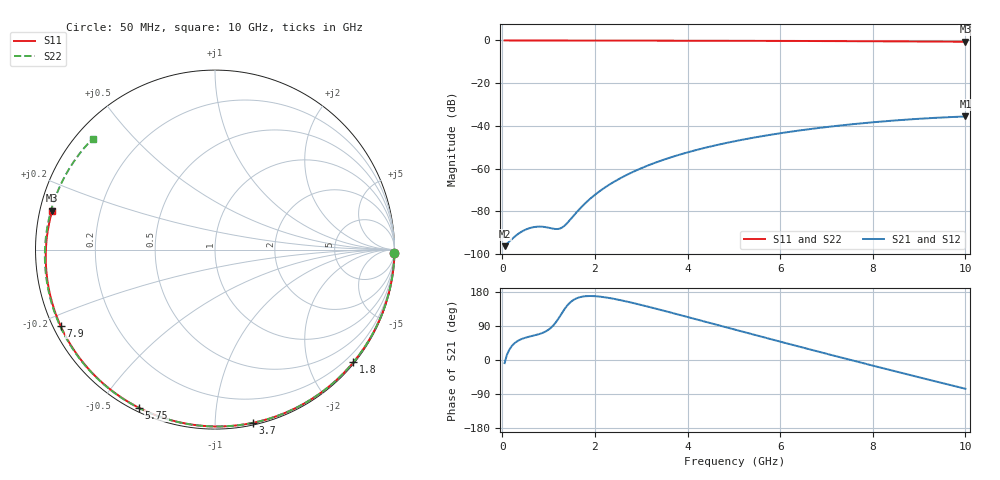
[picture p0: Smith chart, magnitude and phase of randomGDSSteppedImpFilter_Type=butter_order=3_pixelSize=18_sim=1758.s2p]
! freq	dB(S11)	phase(S11)	dB(S12)	phase(S12)
!  dB(S21)	phase(S21)	dB(S22)	phase(S22)
!S-par simulation data
#  GHz  S  DB  R 50
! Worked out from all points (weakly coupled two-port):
!   200 points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, 50 MHz to 10 GHz, reference 50 ohm
!   highest |S21| = -35.60 dB at 10 GHz (marker M1); lowest = -96.3 dB at 50 MHz (marker M2)
!   lowest |S11| = -0.6 dB at 10 GHz (marker M3), VSWR 28.69, Z = 1.77 + j5.89 ohm
!   |S11| at or under -10 dB: nowhere
!   |S22| runs from -0.7 to 0.0 dB; largest |S21 - S12| = 0
!   S11 on the Smith chart (normalised r, x): 50 MHz: open; 1.8 GHz: 0.03, -2.81; 3.7 GHz: 0.02, -1.24; 5.75 GHz: 0.02, -0.63; 7.9 GHz: 0.02, -0.23; 10 GHz: 0.04, +0.12
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0.05  -0.00 -1.1  -96.31 -8.2  -96.31 -8.2  -0.00 -1.1
0.8  -0.02 -17.6  -87.16 68.5  -87.16 68.5  -0.02 -18.3
1.6  -0.04 -34.9  -80.56 162.6  -80.56 162.6  -0.05 -36.2
1.65  -0.05 -36.0  -79.35 164.9  -79.35 164.9  -0.05 -37.3
1.75  -0.05 -38.1  -77.09 167.7  -77.09 167.7  -0.05 -39.5
1.8  -0.05 -39.2  -76.04 168.4  -76.04 168.4  -0.05 -40.6
2.1  -0.06 -45.5  -70.61 167.3  -70.61 167.3  -0.06 -47.2
2.5  -0.07 -53.7  -65.08 159.2  -65.08 159.2  -0.07 -55.8
2.9  -0.08 -61.9  -60.77 148.2  -60.77 148.2  -0.08 -64.4
3.4  -0.10 -71.8  -56.47 132.8  -56.47 132.8  -0.10 -74.9
3.7  -0.10 -77.7  -54.31 123.2  -54.31 123.2  -0.11 -81.1
4.35  -0.13 -90.1  -50.40 102.1  -50.40 102.1  -0.13 -94.3
5.05  -0.16 -103.1  -47.04 79.3  -47.04 79.3  -0.17 -108.4
5.75  -0.19 -115.7  -44.30 56.6  -44.30 56.6  -0.21 -122.4
6.7  -0.26 -132.6  -41.33 26.1  -41.33 26.1  -0.28 -141.6
7.3  -0.30 -143.1  -39.80 7.1  -39.80 7.1  -0.34 -154.2
7.9  -0.36 -153.8  -38.51 -11.7  -38.51 -11.7  -0.40 -167.3
8.35  -0.40 -161.9  -37.67 -25.7  -37.67 -25.7  -0.46 -177.7
8.8  -0.45 -170.2  -36.95 -39.5  -36.95 -39.5  -0.52 171.3
9.2  -0.50 -177.7  -36.40 -51.8  -36.40 -51.8  -0.58 160.9
9.6  -0.55 174.6  -35.95 -63.9  -35.95 -63.9  -0.65 149.7
10  -0.61 166.5  -35.60 -75.8  -35.60 -75.8  -0.73 137.8
